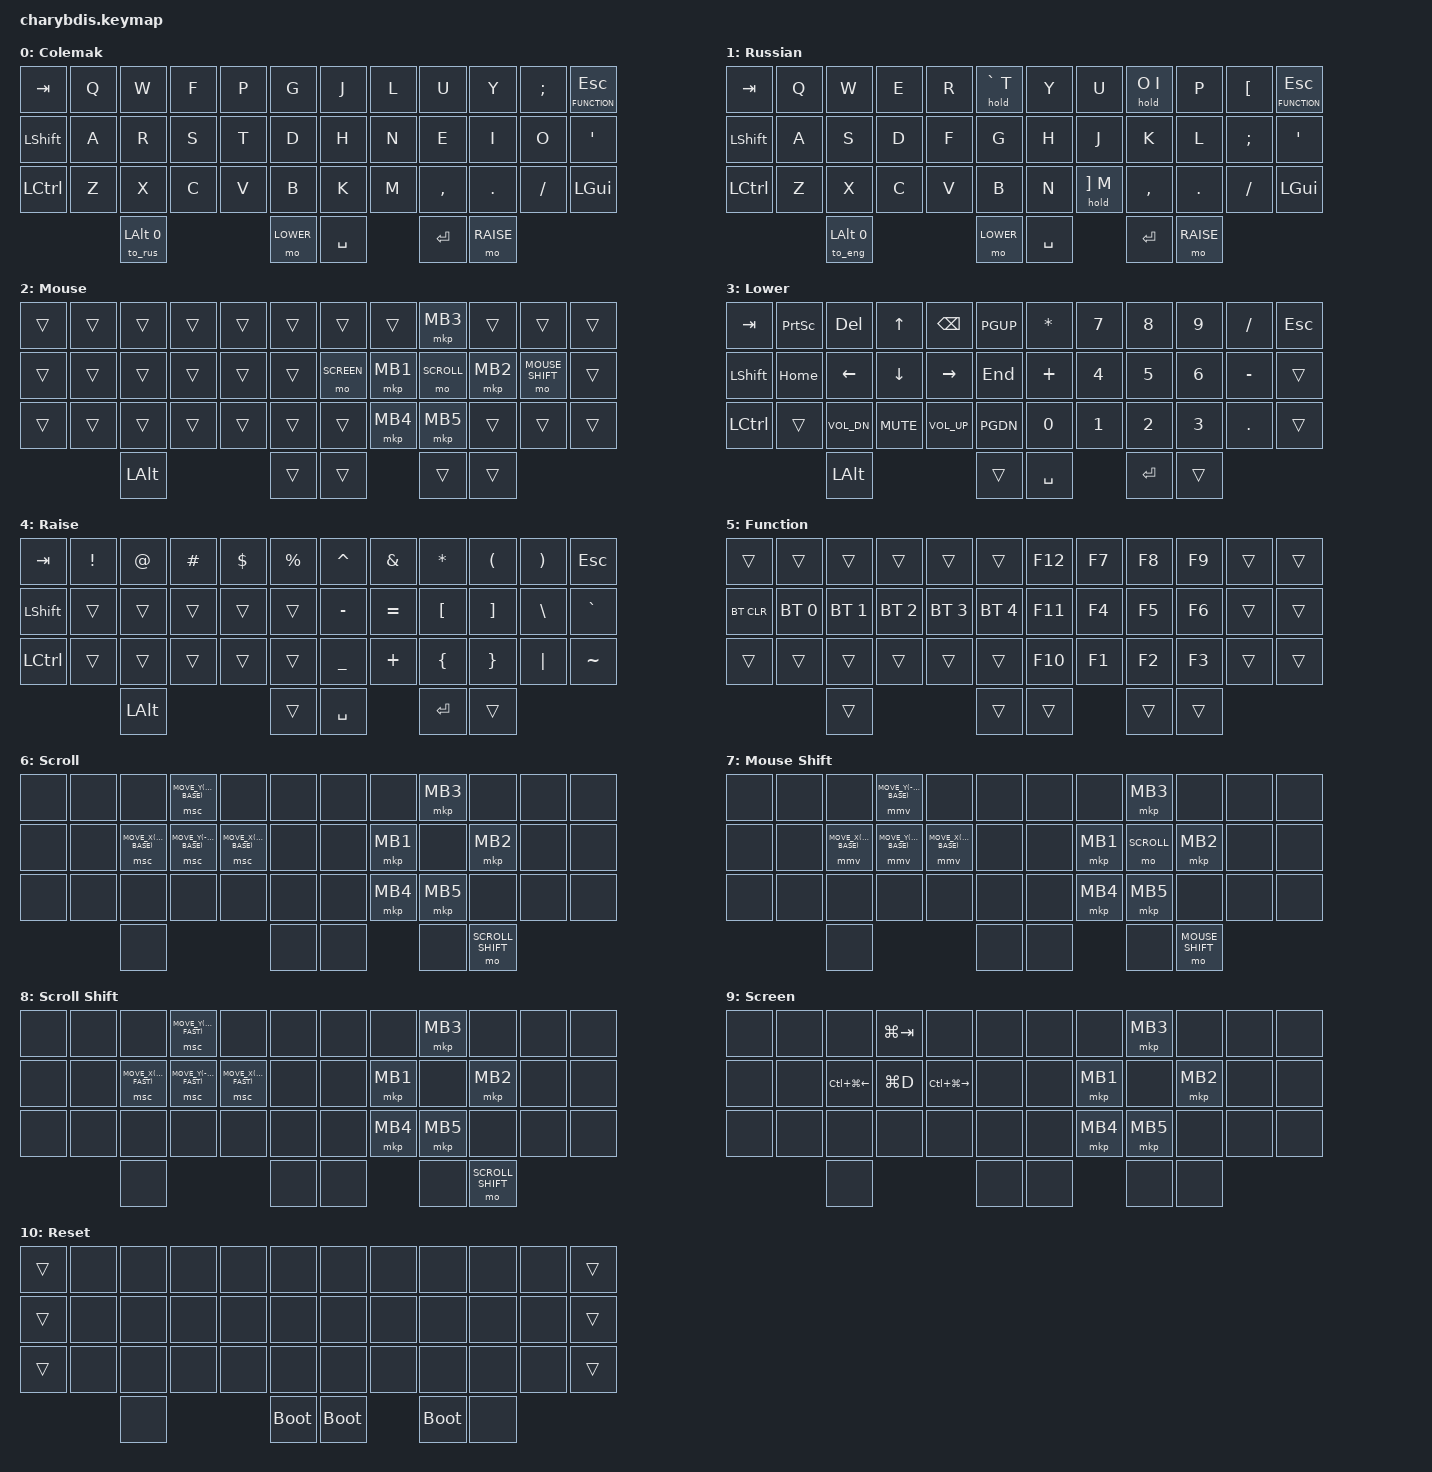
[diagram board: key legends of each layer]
#include <behaviors.dtsi>
#include <dt-bindings/zmk/keys.h>
#include <dt-bindings/zmk/bt.h>
#include <dt-bindings/zmk/pointing.h>
#include "behaviors/behavior_esc_layer_switch.dtsi"

#define COLEMAK 0
#define RUSSIAN 1
#define MOUSE 2
#define LOWER 3
#define RAISE 4
#define FUNCTION 5
#define SCROLL 6
#define MOUSE_SHIFT 7
#define SCROLL_SHIFT 8
#define SCREEN 9
#define RESET 10

#define MOVE_BASE (ZMK_POINTING_DEFAULT_MOVE_VAL)
#define SCROLL_BASE (ZMK_POINTING_DEFAULT_SCRL_VAL * 16)
#define SCROLL_FAST (SCROLL_BASE * 3)

/ {
  combos {
    compatible = "zmk,combos";
    timeout-ms = <20>;
    require-prior-idle-ms = <250>;

    combo_reset_layer_left {
      key-positions = <20 24>;
      bindings = <&to RESET>;
    };
    combo_reset_layer_right {
      key-positions = <25 29>;
      bindings = <&to RESET>;
    };
    combo_reset_central {
      key-positions = <37 38>;
      bindings = <&bootloader>;
      require-prior-idle-ms = <2000>;
    };
    combo_esc {
      key-positions = <1 2>;
      bindings = <&kp ESCAPE>;
    };
    combo_tab {
      key-positions = <2 3>;
      bindings = <&kp TAB>;
    };
    combo_cdel {
      key-positions = <11 12>;
      bindings = <&kp LC(BACKSPACE)>;
    };
    combo_unlock {
      key-positions = <0 4>;
      bindings = <&studio_unlock>;
    };
  };

  chosen {
    zmk,physical-layout = &charybdis_6col_layout;
  };

  keymap {
    compatible = "zmk,keymap";

    Colemak {
      display-name = "Colemak";
      bindings = <
        &kp TAB    &kp Q  &kp W  &kp F  &kp P  &kp G     &kp J  &kp L  &kp U     &kp Y    &kp SEMI  &lt FUNCTION ESCAPE
        &kp LSHFT  &kp A  &kp R  &kp S  &kp T  &kp D     &kp H  &kp N  &kp E     &kp I    &kp O     &kp SQT
        &kp LCTRL  &kp Z  &kp X  &kp C  &kp V  &kp B     &kp K  &kp M  &kp COMMA &kp DOT  &kp FSLH  &kp LGUI
                            &to_rus LALT 0  &mo LOWER  &kp SPACE     &kp RET  &mo RAISE
      >;
    };

    Russian {
      display-name = "Russian";
      bindings = <
        &kp TAB    &kp Q  &kp W  &kp E  &kp R  &hold GRAVE T  &kp Y  &kp U       &hold O I   &kp P    &kp LBKT  &lt FUNCTION ESCAPE
        &kp LSHFT  &kp A  &kp S  &kp D  &kp F  &kp G          &kp H  &kp J       &kp K       &kp L    &kp SEMI  &kp SQT
        &kp LCTRL  &kp Z  &kp X  &kp C  &kp V  &kp B          &kp N  &hold RBKT M &kp COMMA  &kp DOT  &kp FSLH  &kp LGUI
                            &to_eng LALT 0  &mo LOWER  &kp SPACE     &kp RET  &mo RAISE
      >;
    };

    Mouse {
      display-name = "Mouse";
      bindings = <
        &trans  &trans  &trans  &trans  &trans  &trans     &trans  &trans   &mkp MB3  &trans   &trans  &trans
        &trans  &trans  &trans  &trans  &trans  &trans     &mo SCREEN  &mkp MB1  &mo SCROLL  &mkp MB2  &mo MOUSE_SHIFT  &trans
        &trans  &trans  &trans  &trans  &trans  &trans     &trans  &mkp MB4  &mkp MB5  &trans   &trans  &trans
                        &kp LALT  &trans  &trans     &trans  &trans
      >;
    };

    Lower {
      display-name = "Lower";
      bindings = <
        &kp TAB     &kp PSCRN    &kp DEL       &kp UP       &kp BSPC     &kp PGUP       &kp ASTRK  &kp N7  &kp N8  &kp N9  &kp FSLH  &kp ESCAPE
        &kp LSHFT   &kp HOME     &kp LEFT      &kp DOWN     &kp RIGHT    &kp END        &kp PLUS   &kp N4  &kp N5  &kp N6  &kp MINUS &trans
        &kp LCTRL   &trans       &kp C_VOL_DN  &kp C_MUTE   &kp C_VOL_UP &kp PGDN      &kp N0     &kp N1  &kp N2  &kp N3  &kp DOT   &trans
                                &kp LALT     &trans       &kp SPACE    &kp RET        &trans
      >;
    };

    Raise {
      display-name = "Raise";
      bindings = <
        &kp TAB   &kp EXCL  &kp AT   &kp HASH  &kp DLLR  &kp PRCNT   &kp CARET  &kp AMPS  &kp ASTRK  &kp LPAR  &kp RPAR  &kp ESCAPE
        &kp LSHFT &trans    &trans   &trans    &trans    &trans      &kp MINUS  &kp EQUAL &kp LBKT   &kp RBKT  &kp BSLH  &kp GRAVE
        &kp LCTRL &trans    &trans   &trans    &trans    &trans      &kp UNDER  &kp PLUS  &kp LBRC   &kp RBRC  &kp PIPE  &kp TILDE
                            &kp LALT  &trans   &kp SPACE  &kp RET     &trans
      >;
    };

    Fun {
      display-name = "Function";
      bindings = <
        &trans      &trans        &trans        &trans        &trans        &trans        &kp F12  &kp F7  &kp F8  &kp F9  &trans  &trans
        &bt BT_CLR  &bt BT_SEL 0  &bt BT_SEL 1  &bt BT_SEL 2  &bt BT_SEL 3  &bt BT_SEL 4  &kp F11  &kp F4  &kp F5  &kp F6  &trans  &trans
        &trans      &trans        &trans        &trans        &trans        &trans        &kp F10  &kp F1  &kp F2  &kp F3  &trans  &trans
                                    &trans  &trans  &trans     &trans  &trans
      >;
    };

    Scroll {
      display-name = "Scroll";
      bindings = <
        &none  &none  &none  &msc MOVE_Y(SCROLL_BASE)   &none  &none     &none  &none   &mkp MB3  &none  &none  &none
        &none  &none  &msc MOVE_X(-SCROLL_BASE) &msc MOVE_Y(-SCROLL_BASE) &msc MOVE_X(SCROLL_BASE) &none  &none  &mkp MB1  &none  &mkp MB2  &none  &none
        &none  &none  &none  &none  &none  &none     &none  &mkp MB4  &mkp MB5  &none  &none  &none
                        &none  &none  &none     &none  &mo SCROLL_SHIFT
      >;
    };

    MouseShift {
      display-name = "Mouse Shift";
      bindings = <
        &none  &none  &none  &mmv MOVE_Y(-MOVE_BASE)   &none  &none     &none  &none   &mkp MB3  &none  &none  &none
        &none  &none  &mmv MOVE_X(-MOVE_BASE) &mmv MOVE_Y(MOVE_BASE) &mmv MOVE_X(MOVE_BASE) &none  &none  &mkp MB1  &mo SCROLL  &mkp MB2  &none  &none
        &none  &none  &none  &none  &none  &none     &none  &mkp MB4  &mkp MB5  &none  &none  &none
                        &none  &none  &none     &none  &mo MOUSE_SHIFT
      >;
    };

    ScrollShift {
      display-name = "Scroll Shift";
      bindings = <
        &none  &none  &none  &msc MOVE_Y(SCROLL_FAST)   &none  &none     &none  &none   &mkp MB3  &none  &none  &none
        &none  &none  &msc MOVE_X(-SCROLL_FAST) &msc MOVE_Y(-SCROLL_FAST) &msc MOVE_X(SCROLL_FAST) &none  &none  &mkp MB1  &none  &mkp MB2  &none  &none
        &none  &none  &none  &none  &none  &none     &none  &mkp MB4  &mkp MB5  &none  &none  &none
                        &none  &none  &none     &none  &mo SCROLL_SHIFT
      >;
    };

    Screen {
      display-name = "Screen";
      bindings = <
        &none  &none  &none  &kp LG(TAB)   &none  &none     &none  &none   &mkp MB3  &none  &none  &none
        &none  &none  &kp LC(LG(LEFT))  &kp LG(D)  &kp LC(LG(RIGHT))  &none  &none  &mkp MB1  &none  &mkp MB2  &none  &none
        &none  &none  &none  &none  &none  &none     &none  &mkp MB4  &mkp MB5  &none  &none  &none
                        &none  &none  &none     &none  &none
      >;
    };

    Reset {
      display-name = "Reset";
      bindings = <
        &trans  &none  &none  &none  &none  &none     &none  &none  &none  &none  &none  &trans
        &trans  &none  &none  &none  &none  &none     &none  &none  &none  &none  &none  &trans
        &trans  &none  &none  &none  &none  &none     &none  &none  &none  &none  &none  &trans
                        &none  &bootloader  &bootloader     &bootloader  &none
      >;
    };
  };
};
